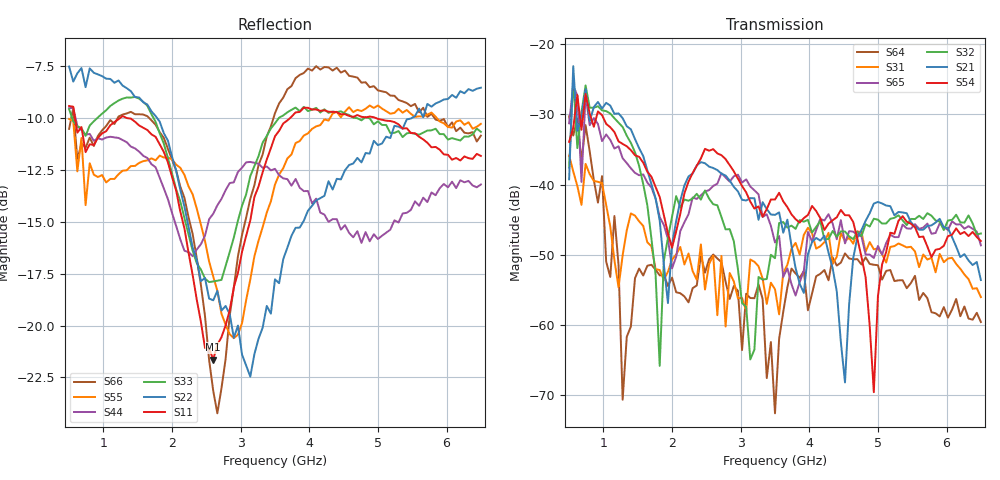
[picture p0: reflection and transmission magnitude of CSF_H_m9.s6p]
!Keysight Technologies,M9804A,MY58100912,A.14.10.03
!Date: Thursday, April 27, 2023 10:28:33
!Correction: S11(C  6-Port  )
!S12(C  6-Port  )
!S13(C  6-Port  )
!S14(C  6-Port  )
!S15(C  6-Port  )
!S16(C  6-Port  )
!S21(C  6-Port  )
!S22(C  6-Port  )
!S23(C  6-Port  )
!S24(C  6-Port  )
!S25(C  6-Port  )
!S26(C  6-Port  )
!S31(C  6-Port  )
!S32(C  6-Port  )
!S33(C  6-Port  )
!S34(C  6-Port  )
!S35(C  6-Port  )
!S36(C  6-Port  )
!S41(C  6-Port  )
!S42(C  6-Port  )
!S43(C  6-Port  )
!S44(C  6-Port  )
!S45(C  6-Port  )
!S46(C  6-Port  )
!S51(C  6-Port  )
!S52(C  6-Port  )
!S53(C  6-Port  )
!S54(C  6-Port  )
!S55(C  6-Port  )
!S56(C  6-Port  )
!S61(C  6-Port  )
!S62(C  6-Port  )
!S63(C  6-Port  )
!S64(C  6-Port  )
!S65(C  6-Port  )
!S66(C  6-Port  )
!S6P File: Measurement: :
# Hz S  RI  R 50
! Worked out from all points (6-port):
!   101 points, 500 MHz to 6.5 GHz, reference 50 ohm
!   strongest paths, dB at 500 MHz, 2 GHz, 3.5 GHz, 5 GHz, 6.5 GHz:
!     S54: -33.9, -49.0, -42.1, -55.9, -48.0
!     S21: -39.3, -48.5, -44.3, -42.5, -53.6
!     S32: -37.6, -44.6, -50.5, -45.0, -47.0
!     S65: -31.3, -51.9, -48.2, -48.7, -48.7
!     S31: -35.9, -50.7, -54.9, -49.1, -56.0
!     S64: -30.3, -53.2, -72.6, -51.5, -59.6
!   lowest |S11| = -21.6 dB at 2.6 GHz (marker M1), VSWR 1.18, Z = 42.6 + j2.05 ohm
!   |S11| at or under -10 dB: 586.6 MHz to 1.239 GHz (652.2 MHz wide, 71.5 % of centre); 1.363 GHz to 3.716 GHz (2.353 GHz wide, 92.6 % of centre); 4.977 GHz to end of sweep
